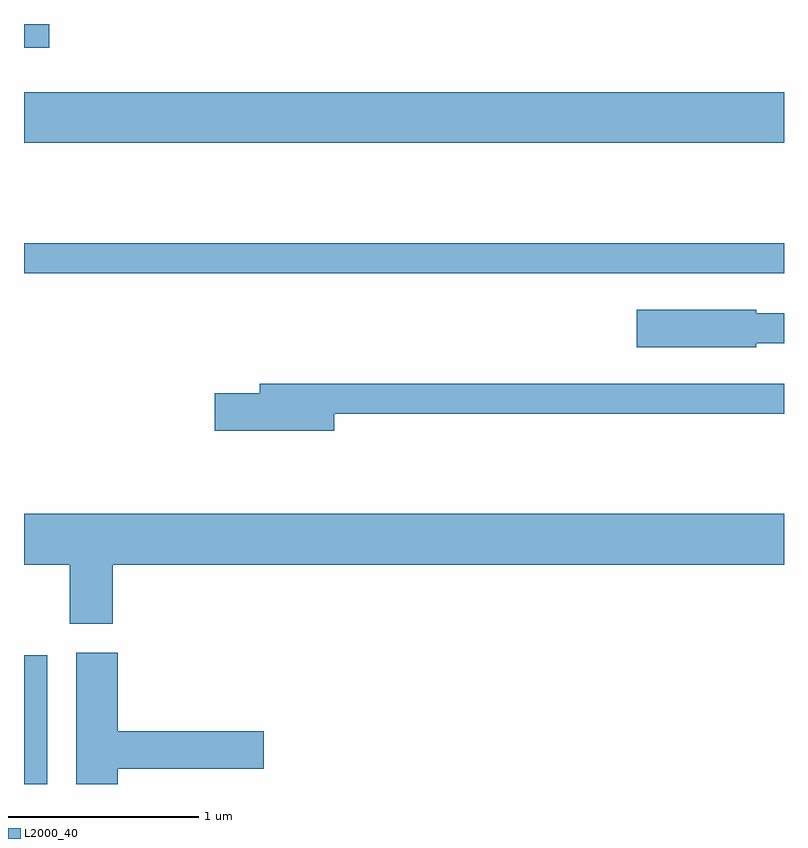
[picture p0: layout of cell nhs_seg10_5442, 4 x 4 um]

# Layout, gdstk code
import gdstk
lib = gdstk.Library(unit=1e-6, precision=1e-09)
def R(c, l, rs):  # rectangles x0, y0, x1, y1
    for r in rs: c.add(gdstk.rectangle(r[:2], r[2:], *l))
def P(c, l, *ps):  # polygons
    for p in ps: c.add(gdstk.Polygon(p, *l))
L2000_40 = (2000, 40)

nhs_seg10_5442 = lib.new_cell('nhs_seg10_5442')
R(nhs_seg10_5442, L2000_40, [(345.611,2130.522,345.734,2131.199), (345.611,2133.211,349.611,2133.369), (345.611,2133.896,349.611,2134.164), (345.611,2134.396,345.744,2134.522)])
P(nhs_seg10_5442, L2000_40, [(349.464,2132.841),(349.611,2132.841),(349.611,2132.999),(349.464,2132.999),(349.464,2133.019),(348.836,2133.019),(348.836,2132.821),(349.464,2132.821)],
  [(347.244,2132.471),(349.611,2132.471),(349.611,2132.629),(346.851,2132.629),(346.851,2132.579),(346.616,2132.579),(346.616,2132.381),(347.244,2132.381)],
  [(346.079,2131.676),(349.611,2131.676),(349.611,2131.944),(345.611,2131.944),(345.611,2131.676),(345.851,2131.676),(345.851,2131.366),(346.079,2131.366)],
  [(346.104,2130.601),(346.874,2130.601),(346.874,2130.799),(346.104,2130.799),(346.104,2131.214),(345.886,2131.214),(345.886,2130.522),(346.104,2130.522)])

lib.write_gds('nhs_seg10_5442.gds')
